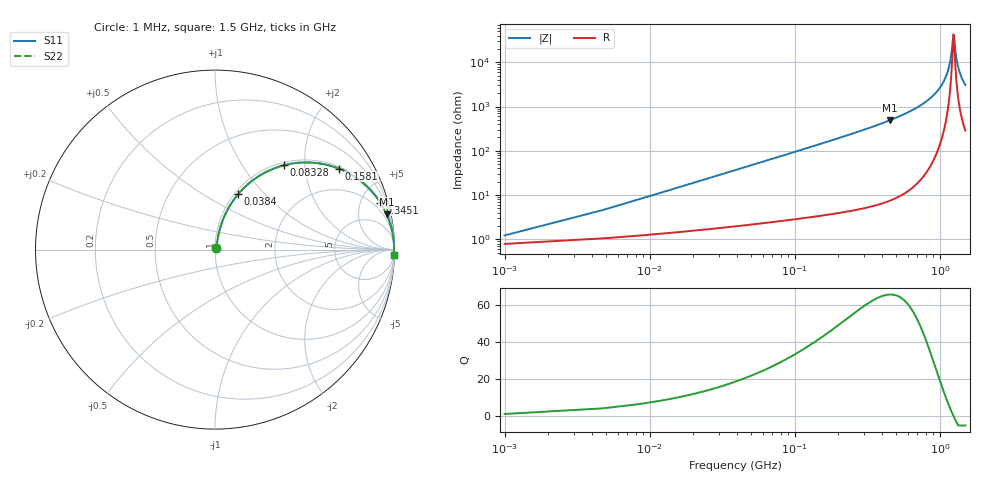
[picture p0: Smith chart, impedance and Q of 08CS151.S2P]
! Coilcraft 0805CS-151 Chip Inductor
! 11 June 2002
# MHZ S MA R 50
!Freq  MagS11  AngS11  MagS21  AngS21  MagS12  AngS12  MagS22  AngS22
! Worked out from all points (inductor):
!   402 points, 1 MHz to 1.5 GHz, reference 50 ohm
!   read as one part in series: L = 149 nH near 8.48 MHz
!   highest Q = 65.8 at 449.8 MHz (marker M1), where L = 171 nH
!   self-resonance near 1.243 GHz
!   S11 on the Smith chart (normalised r, x): 1 MHz: 1.02, +0.02; 38.4 MHz: 1.04, +0.72; 83.28 MHz: 1.05, +1.57; 158.1 MHz: 1.07, +3.01; 345.1 MHz: 1.11, +7.00; 1.5 GHz: 7, -61
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1  0.01211 49.6  0.9922 -0.5  0.9922 -0.5  0.01211 49.6
12.22  0.113 76.9  0.9806 -6.4  0.9806 -6.4  0.113 76.9
15.96  0.1464 76.1  0.9752 -8.4  0.9752 -8.4  0.1464 76.1
27.18  0.2433 72.1  0.9536 -14.1  0.9536 -14.1  0.2433 72.1
38.4  0.3333 67.5  0.925 -19.4  0.925 -19.4  0.3333 67.5
83.28  0.607 50.7  0.7747 -37.4  0.7747 -37.4  0.607 50.7
158.08  0.8241 33.2  0.5477 -55.5  0.5477 -55.5  0.8241 33.2
251.58  0.9204 22.0  0.3747 -67.0  0.3747 -67.0  0.9204 22.0
345.08  0.9575 15.9  0.2735 -73.2  0.2735 -73.2  0.9575 15.9
449.8  0.9764 11.6  0.2015 -77.5  0.2015 -77.5  0.9764 11.6
502.16  0.9819 10.1  0.1748 -79.1  0.1748 -79.1  0.9819 10.1
752.74  0.9941 5.1  0.08936 -83.6  0.08936 -83.6  0.9941 5.1
1003.32  0.9974 2.1  0.03708 -84.9  0.03708 -84.9  0.9974 2.1
1085.6  0.9977 1.3  0.02342 -83.6  0.02342 -83.6  0.9977 1.3
1145.44  0.9977 0.8  0.01424 -80.5  0.01424 -80.5  0.9977 0.8
1194.06  0.9977 0.4  0.007295 -71.7  0.007295 -71.7  0.9977 0.4
1238.94  0.9977 0.0  0.002417 -14.7  0.002417 -14.7  0.9977 0.0
1253.9  0.9976 -0.1  0.002772 31.2  0.002772 31.2  0.9976 -0.1
1291.3  0.9975 -0.4  0.006925 68.9  0.006925 68.9  0.9975 -0.4
1336.18  0.9974 -0.7  0.0126 77.6  0.0126 77.6  0.9974 -0.7
1407.24  0.997 -1.2  0.02142 81.4  0.02142 81.4  0.997 -1.2
1500  0.9965 -1.9  0.03243 82.8  0.03243 82.8  0.9965 -1.9
